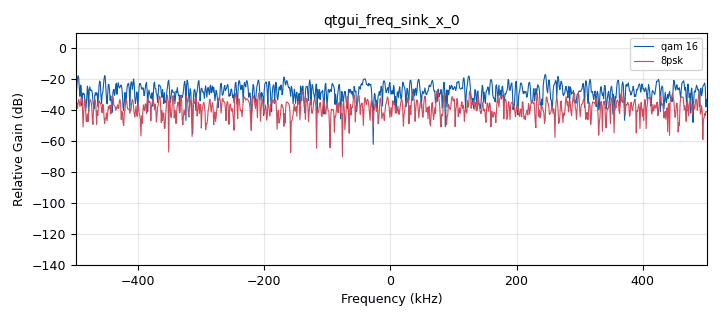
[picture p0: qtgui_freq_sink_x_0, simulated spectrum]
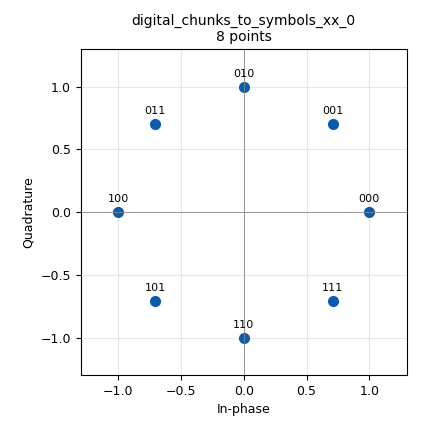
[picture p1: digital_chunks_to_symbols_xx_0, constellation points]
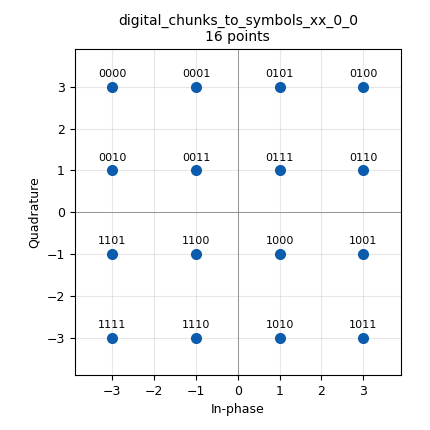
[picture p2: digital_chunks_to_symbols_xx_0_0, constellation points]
options:
  parameters:
    generate_options: qt_gui
    id: lab2_3
    output_language: python
  states: {}

blocks:
- name: cfo
  id: variable_qtgui_range
  parameters:
    label: Carrier Frequency Offset (Hz)
    orient: Qt.Horizontal
    start: '0'
    step: '10'
    stop: 100e3
    value: '0.0'
  states: {}
- name: constellation_8psk
  id: variable
  parameters:
    comment: |-
      The constellation points of specific modulation.
      For example BPSK is [-1, 1]
    value: '[+1+0j,0.707 + 0.707j,0+1j,-0.707 + 0.707j,-1+0j,-0.707 - 0.707j,0-1j,0.707 - 0.707j]'
  states: {}
- name: constellation_bpsk
  id: variable
  parameters:
    comment: |-
      The constellation points of specific modulation.
      For example BPSK is [-1, 1]
    value: '[-1+0j, +1+0j]'
  states: {}
- name: constellation_qam_16
  id: variable
  parameters:
    comment: |-
      The constellation points of specific modulation.
      For example BPSK is [-1, 1]
    value: '[-3+3j,-1+3j,-3+1j,-1+1j,3+3j,1+3j,3+1j,1+1j,1-1j,3-1j,1-3j,3-3j,-1-1j,-3-1j,-1-3j,-3-3j]'
  states: {}
- name: constellation_qam_16_norm
  id: variable
  parameters:
    comment: |-
      The constellation points of specific modulation.
      For example BPSK is [-1, 1]
    value: '[0.316227766 * -3 - 0.316227766 * 3j, 0.316227766 * -3 - 0.316227766 * 1j, 0.316227766 * -3 + 0.316227766 * 1j, 0.316227766 * -3 + 0.316227766 * 3j, 0.316227766 * -1 - 0.316227766 * 3j, 0.316227766 * -1 - 0.316227766 * 1j, 0.316227766 * -1 + 0.316227766 * 1j, 0.316227766 * -1 + 0.316227766 * 3j, 0.316227766 * 1 - 0.316227766 * 3j, 0.316227766 * 1 - 0.316227766 * 1j, 0.316227766 * 1 + 0.316227766 * 1j, 0.316227766 * 1 + 0.316227766 * 3j, 0.316227766 * 3 - 0.316227766 * 3j, 0.316227766 * 3 - 0.316227766 * 1j, 0.316227766 * 3 + 0.316227766 * 1j, 0.316227766 * 3 + 0.316227766 * 3j]'
  states: {}
- name: constellation_qam_64
  id: variable
  parameters:
    comment: |-
      The constellation points of specific modulation.
      For example BPSK is [-1, 1]
    value: '[-7 - 7j, -7 - 5j, -7 - 3j, -7 - 1j, -7 + 1j, -7 + 3j, -7 + 5j, -7 + 7j, -5 - 7j, -5 - 5j, -5 - 3j, -5 - 1j, -5 + 1j, -5 + 3j, -5 + 5j, -5 + 7j, -3 - 7j, -3 - 5j, -3 - 3j, -3 - 1j, -3 + 1j, -3 + 3j, -3 + 5j, -3 + 7j, -1 - 7j, -1 - 5j, -1 - 3j, -1 - 1j, -1 + 1j, -1 + 3j, -1 + 5j, -1 + 7j, 1 - 7j, 1 - 5j, 1 - 3j, 1 - 1j, 1 + 1j, 1 + 3j, 1 + 5j, 1 + 7j, 3 - 7j, 3 - 5j, 3 - 3j, 3 - 1j, 3 + 1j, 3 + 3j, 3 + 5j, 3 + 7j, 5 - 7j, 5 - 5j, 5 - 3j, 5 - 1j, 5 + 1j, 5 + 3j, 5 + 5j, 5 + 7j, 7 - 7j, 7 - 5j, 7 - 3j, 7 - 1j, 7 + 1j, 7 + 3j, 7 + 5j, 7 + 7j]'
  states: {}
- name: constellation_qam_64_norm
  id: variable
  parameters:
    comment: |-
      The constellation points of specific modulation.
      For example BPSK is [-1, 1]
    value: |-
      [0.15430335 * -7 - 0.15430335 * 7j, 0.15430335 * -7 - 0.15430335 * 5j, 0.15430335 * -7 - 0.15430335 * 3j, 0.15430335 * -7 - 0.15430335 * 1j, 0.15430335 * -7 + 0.15430335 * 1j, 0.15430335 * -7 + 0.15430335 * 3j, 0.15430335 * -7 + 0.15430335 * 5j, 0.15430335 * -7 + 0.15430335 * 7j, 0.15430335 * -5 - 0.15430335 * 7j, 0.15430335 * -5 - 0.15430335 * 5j, 0.15430335 * -5 - 0.15430335 * 3j, 0.15430335 * -5 - 0.15430335 * 1j, 0.15430335 * -5 + 0.15430335 * 1j, 0.15430335 * -5 + 
      0.15430335 * 3j, 0.15430335 * -5 + 0.15430335 * 5j, 0.15430335 * -5 + 0.15430335 * 7j, 0.15430335 * -3 - 0.15430335 * 7j, 0.15430335 * -3 - 0.15430335 * 5j, 0.15430335 * -3 - 0.15430335 * 3j, 0.15430335 * -3 - 0.15430335 * 1j, 0.15430335 * -3 + 0.15430335 * 1j, 0.15430335 * -3 + 0.15430335 * 3j, 0.15430335 * -3 + 0.15430335 * 5j, 0.15430335 * -3 + 0.15430335 * 7j, 0.15430335 * -1 - 0.15430335 * 7j, 0.15430335 * -1 - 0.15430335 * 5j, 0.15430335 * -1 - 0.15430335 * 3j, 0.15430335 * -1 - 0.15430335 * 1j, 0.15430335 * -1 + 0.15430335 * 1j, 0.15430335 * -1 + 0.15430335 * 3j, 0.15430335 * -1 + 0.15430335 * 5j, 0.15430335 * -1 + 0.15430335 * 7j, 0.15430335 * 1 - 0.15430335 * 7j, 0.15430335 * 1 - 0.15430335 * 
      5j, 0.15430335 * 1 - 0.15430335 * 3j, 0.15430335 * 1 - 0.15430335 * 1j, 0.15430335 * 1 + 0.15430335 * 1j, 0.15430335 * 1 + 0.15430335 * 3j, 0.15430335 * 1 + 0.15430335 * 5j, 0.15430335 * 1 + 0.15430335 * 7j, 0.15430335 * 3 - 0.15430335 * 7j, 0.15430335 * 3 - 0.15430335 * 5j, 0.15430335 * 3 - 0.15430335 * 3j, 0.15430335 * 3 - 0.15430335 * 1j, 0.15430335 * 3 + 0.15430335 * 1j, 0.15430335 * 3 + 0.15430335 * 3j, 0.15430335 * 3 + 0.15430335 * 5j, 0.15430335 * 3 + 0.15430335 
      * 7j, 0.15430335 * 5 - 0.15430335 * 7j, 0.15430335 * 5 - 0.15430335 * 5j, 0.15430335 * 5 - 0.15430335 * 3j, 0.15430335 * 5 - 0.15430335 * 1j, 0.15430335 * 5 + 0.15430335 * 1j, 0.15430335 * 5 + 0.15430335 * 3j, 0.15430335 * 5 + 0.15430335 * 5j, 0.15430335 * 5 + 0.15430335 * 7j, 0.15430335 * 7 - 0.15430335 * 7j, 0.15430335 * 7 - 0.15430335 * 5j, 0.15430335 * 7 - 0.15430335 * 3j, 0.15430335 * 7 - 0.15430335 * 1j, 0.15430335 * 7 + 0.15430335 * 1j, 0.15430335 * 7 + 0.15430335 * 3j, 0.15430335 * 7 + 0.15430335 * 5j, 0.15430335 * 7 + 0.15430335 * 7j]
  states: {}
- name: constellation_qpsk
  id: variable
  parameters:
    comment: |-
      The constellation points of specific modulation.
      For example BPSK is [-1, 1]
    value: '[1+1j, 1-1j, -1+1j, -1-1j]'
  states: {}
- name: constellation_qpsk_norm
  id: variable
  parameters:
    comment: |-
      The constellation points of specific modulation.
      For example BPSK is [-1, 1]
    value: '[0.70710678118 * -1 - 0.70710678118 * 1j, 0.70710678118 * -1 + 0.70710678118 * 1j, 0.70710678118 * 1 - 0.70710678118 * 1j, 0.70710678118 * 1 + 0.70710678118 * 1j]'
  states: {}
- name: mod_order
  id: variable
  parameters:
    comment: |-
      The number of bits that each 
      constellation point carries
    value: '4'
  states: {}
- name: noise
  id: variable_qtgui_range
  parameters:
    label: Noise Amplitude
    orient: Qt.Horizontal
    start: '0'
    step: '0.01'
    stop: '1'
    value: '0.0'
  states: {}
- name: samp_rate
  id: variable
  parameters:
    value: 1e6
  states: {}
- name: analog_noise_source_x_0
  id: analog_noise_source_x
  parameters:
    amp: noise
    noise_type: analog.GR_GAUSSIAN
    seed: '0'
    type: complex
  states: {}
- name: analog_noise_source_x_0_0
  id: analog_noise_source_x
  parameters:
    amp: noise
    noise_type: analog.GR_GAUSSIAN
    seed: '0'
    type: complex
  states: {}
- name: analog_random_source_x_0
  id: analog_random_source_x
  parameters:
    max: '255'
    min: '0'
    num_samps: '1000'
    repeat: 'True'
    type: byte
  states: {}
- name: analog_random_source_x_0_0
  id: analog_random_source_x
  parameters:
    max: '255'
    min: '0'
    num_samps: '1000'
    repeat: 'True'
    type: byte
  states: {}
- name: analog_sig_source_x_0
  id: analog_sig_source_x
  parameters:
    amp: '1'
    freq: cfo
    offset: '0'
    phase: '0'
    samp_rate: samp_rate
    type: complex
    waveform: analog.GR_COS_WAVE
  states: {}
- name: analog_sig_source_x_0_0
  id: analog_sig_source_x
  parameters:
    amp: '1'
    freq: cfo
    offset: '0'
    phase: '0'
    samp_rate: samp_rate
    type: complex
    waveform: analog.GR_COS_WAVE
  states: {}
- name: blocks_add_xx_0
  id: blocks_add_xx
  parameters:
    type: complex
  states: {}
- name: blocks_add_xx_0_0
  id: blocks_add_xx
  parameters:
    type: complex
  states: {}
- name: blocks_multiply_xx_0
  id: blocks_multiply_xx
  parameters:
    type: complex
  states: {}
- name: blocks_multiply_xx_0_0
  id: blocks_multiply_xx
  parameters:
    type: complex
  states: {}
- name: blocks_packed_to_unpacked_xx_0
  id: blocks_packed_to_unpacked_xx
  parameters:
    bits_per_chunk: '3'
    endianness: gr.GR_MSB_FIRST
    type: byte
  states: {}
- name: blocks_packed_to_unpacked_xx_0_0
  id: blocks_packed_to_unpacked_xx
  parameters:
    bits_per_chunk: mod_order
    endianness: gr.GR_MSB_FIRST
    type: byte
  states: {}
- name: blocks_throttle_0
  id: blocks_throttle
  parameters:
    samples_per_second: samp_rate
    type: complex
  states: {}
- name: digital_chunks_to_symbols_xx_0
  id: digital_chunks_to_symbols_xx
  parameters:
    dimension: '1'
    in_type: byte
    out_type: complex
    symbol_table: constellation_8psk
  states: {}
- name: digital_chunks_to_symbols_xx_0_0
  id: digital_chunks_to_symbols_xx
  parameters:
    dimension: '1'
    in_type: byte
    out_type: complex
    symbol_table: constellation_qam_16
  states: {}
- name: import_0
  id: import
  parameters:
    imports: import math
  states: {}
- name: qtgui_freq_sink_x_0
  id: qtgui_freq_sink_x
  parameters:
    bw: samp_rate
    fc: 2e3
    fftsize: '1024'
    label1: '''qam 16'''
    label2: '''8psk'''
    nconnections: '2'
    type: complex
    wintype: firdes.WIN_BLACKMAN_hARRIS
  states: {}

connections:
- [analog_noise_source_x_0, '0', blocks_add_xx_0, '1']
- [analog_noise_source_x_0_0, '0', blocks_add_xx_0_0, '1']
- [analog_random_source_x_0, '0', blocks_packed_to_unpacked_xx_0, '0']
- [analog_random_source_x_0_0, '0', blocks_packed_to_unpacked_xx_0_0, '0']
- [analog_sig_source_x_0, '0', blocks_multiply_xx_0, '1']
- [analog_sig_source_x_0_0, '0', blocks_multiply_xx_0_0, '1']
- [blocks_add_xx_0, '0', blocks_multiply_xx_0, '0']
- [blocks_add_xx_0_0, '0', blocks_multiply_xx_0_0, '0']
- [blocks_multiply_xx_0, '0', blocks_throttle_0, '0']
- [blocks_multiply_xx_0_0, '0', qtgui_freq_sink_x_0, '0']
- [blocks_packed_to_unpacked_xx_0, '0', digital_chunks_to_symbols_xx_0, '0']
- [blocks_packed_to_unpacked_xx_0_0, '0', digital_chunks_to_symbols_xx_0_0, '0']
- [blocks_throttle_0, '0', qtgui_freq_sink_x_0, '1']
- [digital_chunks_to_symbols_xx_0, '0', blocks_add_xx_0, '0']
- [digital_chunks_to_symbols_xx_0_0, '0', blocks_add_xx_0_0, '0']

metadata:
  file_format: 1
